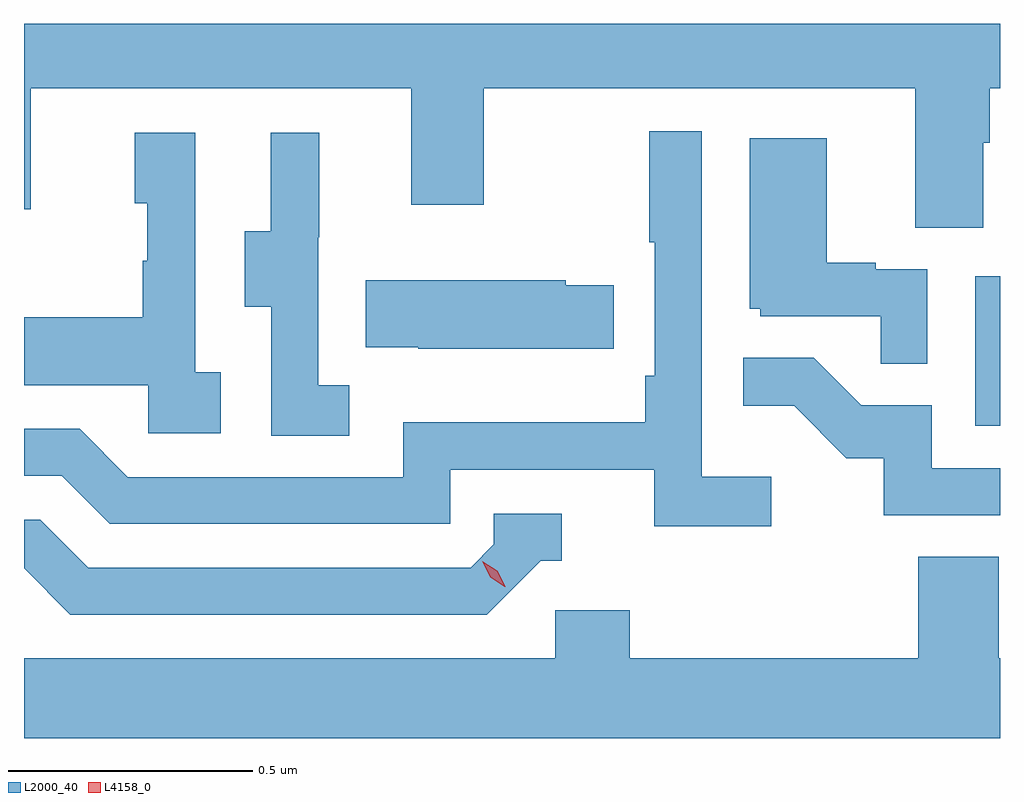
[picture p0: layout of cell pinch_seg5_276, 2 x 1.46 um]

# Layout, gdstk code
import gdstk
lib = gdstk.Library(unit=1e-6, precision=1e-09)
def R(c, l, rs):  # rectangles x0, y0, x1, y1
    for r in rs: c.add(gdstk.rectangle(r[:2], r[2:], *l))
def P(c, l, *ps):  # polygons
    for p in ps: c.add(gdstk.Polygon(p, *l))
L2000_40 = (2000, 40)
L4158_0 = (4158, 0)

pinch_seg5_276 = lib.new_cell('pinch_seg5_276')
R(pinch_seg5_276, L2000_40, [(892.412,914.676,892.463,914.983)])
P(pinch_seg5_276, L2000_40, [(892.429,915.256),(892.442,915.256),(892.442,915.368),(892.463,915.368),(892.463,915.5),(890.463,915.5),(890.463,915.12),(890.477,915.12),(890.477,915.368),(891.257,915.368),(891.257,915.129),(891.405,915.129),(891.405,915.368),(892.289,915.368),(892.289,915.082),(892.429,915.082)],
  [(891.994,914.572),(891.852,914.572),(891.852,915.28),(891.744,915.28),(891.744,915.052),(891.756,915.052),(891.756,914.779),(891.736,914.779),(891.736,914.683),(891.24,914.683),(891.24,914.571),(890.676,914.571),(890.577,914.67),(890.463,914.67),(890.463,914.574),(890.54,914.574),(890.639,914.475),(891.336,914.475),(891.336,914.586),(891.755,914.586),(891.755,914.47),(891.994,914.47)],
  [(890.866,914.786),(890.814,914.786),(890.814,915.277),(890.69,915.277),(890.69,915.132),(890.716,915.132),(890.716,915.014),(890.706,915.014),(890.706,914.899),(890.463,914.899),(890.463,914.759),(890.718,914.759),(890.718,914.661),(890.866,914.661)],
  [(891.13,914.759),(891.066,914.759),(891.066,915.063),(891.068,915.063),(891.068,915.277),(890.969,915.277),(890.969,915.075),(890.915,915.075),(890.915,914.92),(890.97,914.92),(890.97,914.656),(891.13,914.656)],
  [(892.314,914.997),(892.208,914.997),(892.208,915.01),(892.108,915.01),(892.108,915.265),(891.95,915.265),(891.95,914.916),(891.972,914.916),(891.972,914.901),(892.219,914.901),(892.219,914.803),(892.314,914.803)],
  [(891.671,914.964),(891.573,914.964),(891.573,914.974),(891.163,914.974),(891.163,914.837),(891.271,914.837),(891.271,914.834),(891.671,914.834)],
  [(892.463,914.589),(892.323,914.589),(892.323,914.718),(892.179,914.718),(892.081,914.816),(891.937,914.816),(891.937,914.717),(892.041,914.717),(892.148,914.61),(892.225,914.61),(892.225,914.493),(892.463,914.493)],
  [(891.522,914.4),(891.565,914.4),(891.565,914.496),(891.426,914.496),(891.426,914.433),(891.378,914.385),(890.595,914.385),(890.496,914.484),(890.463,914.484),(890.463,914.384),(890.558,914.289),(891.411,914.289)],
  [(892.463,914.2),(892.46,914.2),(892.46,914.408),(892.295,914.408),(892.295,914.2),(891.704,914.2),(891.704,914.298),(891.552,914.298),(891.552,914.2),(890.463,914.2),(890.463,914.036),(892.463,914.036)])
P(pinch_seg5_276, L4158_0, [(891.448,914.346),(891.418,914.366),(891.402,914.399),(891.402,914.399),(891.402,914.399),(891.433,914.379),(891.449,914.347),(891.449,914.346)])

lib.write_gds('pinch_seg5_276.gds')
